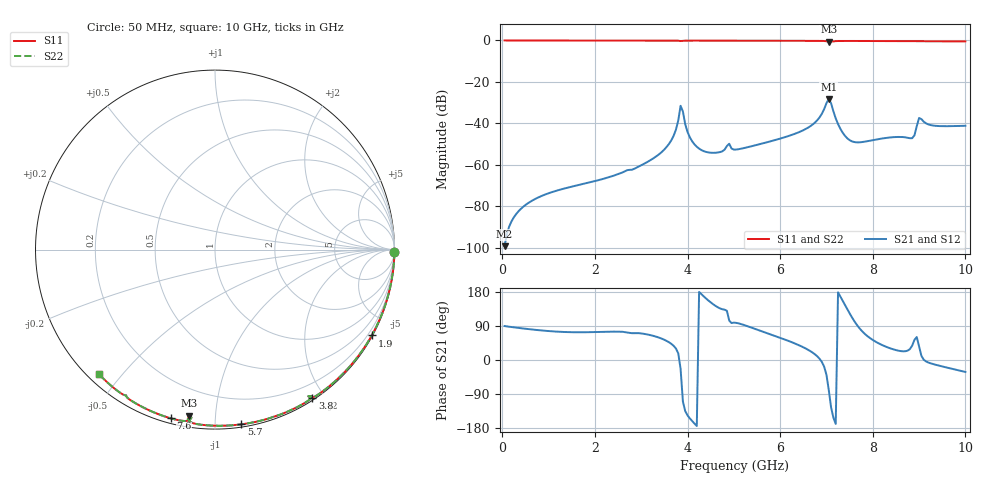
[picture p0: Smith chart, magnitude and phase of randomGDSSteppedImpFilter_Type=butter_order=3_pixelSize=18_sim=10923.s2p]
! freq	dB(S11)	phase(S11)	dB(S12)	phase(S12)
!  dB(S21)	phase(S21)	dB(S22)	phase(S22)
!S-par simulation data
#  GHz  S  DB  R 50
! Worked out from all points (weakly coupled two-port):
!   200 points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, 50 MHz to 10 GHz, reference 50 ohm
!   highest |S21| = -28.21 dB at 7.05 GHz (marker M1); lowest = -99.3 dB at 50 MHz (marker M2)
!   lowest |S11| = -0.6 dB at 7.05 GHz (marker M3), VSWR 30.29, Z = 2.86 - j42.7 ohm
!   |S11| at or under -10 dB: nowhere
!   |S22| runs from -0.6 to 0.0 dB; largest |S21 - S12| = 0
!   S11 on the Smith chart (normalised r, x): 50 MHz: open; 1.9 GHz: 0.03, -3.91; 3.8 GHz: 0.03, -1.85; 5.7 GHz: 0.02, -1.16; 7.6 GHz: 0.02, -0.77; 10 GHz: 0.03, -0.43
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0.05  -0.00 -0.8  -99.27 89.6  -99.27 89.6  -0.00 -0.8
0.45  -0.01 -6.9  -80.30 83.2  -80.30 83.2  -0.01 -6.9
1.75  -0.03 -26.5  -69.22 73.2  -69.22 73.2  -0.03 -26.5
1.9  -0.04 -28.7  -68.42 73.4  -68.42 73.4  -0.04 -28.7
3.4  -0.07 -50.5  -54.65 58.4  -54.65 58.4  -0.07 -50.5
3.65  -0.08 -54.2  -48.18 42.6  -48.18 42.6  -0.08 -54.2
3.8  -0.11 -56.7  -38.61 17.5  -38.61 17.5  -0.11 -56.7
3.85  -0.28 -57.6  -31.53 -23.3  -31.53 -23.3  -0.28 -57.6
4.05  -0.09 -59.2  -46.75 -154.2  -46.75 -154.2  -0.09 -59.2
4.3  -0.09 -62.8  -52.90 173.6  -52.90 173.6  -0.09 -62.8
4.7  -0.10 -68.3  -53.88 136.2  -53.88 136.2  -0.10 -68.3
4.9  -0.12 -70.9  -49.83 104.1  -49.83 104.1  -0.12 -70.9
5.05  -0.11 -72.9  -52.63 98.0  -52.63 98.0  -0.11 -72.9
5.7  -0.14 -81.5  -49.23 71.7  -49.23 71.7  -0.14 -81.5
6.7  -0.18 -94.4  -40.59 19.6  -40.59 19.6  -0.18 -94.4
7.05  -0.57 -98.9  -28.21 -79.5  -28.21 -79.5  -0.58 -98.9
7.3  -0.25 -100.7  -42.62 167.2  -42.62 167.2  -0.25 -100.7
7.6  -0.25 -104.7  -49.03 102.8  -49.03 102.8  -0.25 -104.7
8.35  -0.30 -113.8  -46.87 31.9  -46.87 31.9  -0.30 -113.8
8.85  -0.34 -119.8  -47.18 37.6  -47.18 37.6  -0.34 -119.8
9  -0.44 -121.4  -37.41 35.8  -37.41 35.8  -0.44 -121.4
10  -0.46 -133.0  -41.18 -31.5  -41.18 -31.5  -0.46 -133.0
